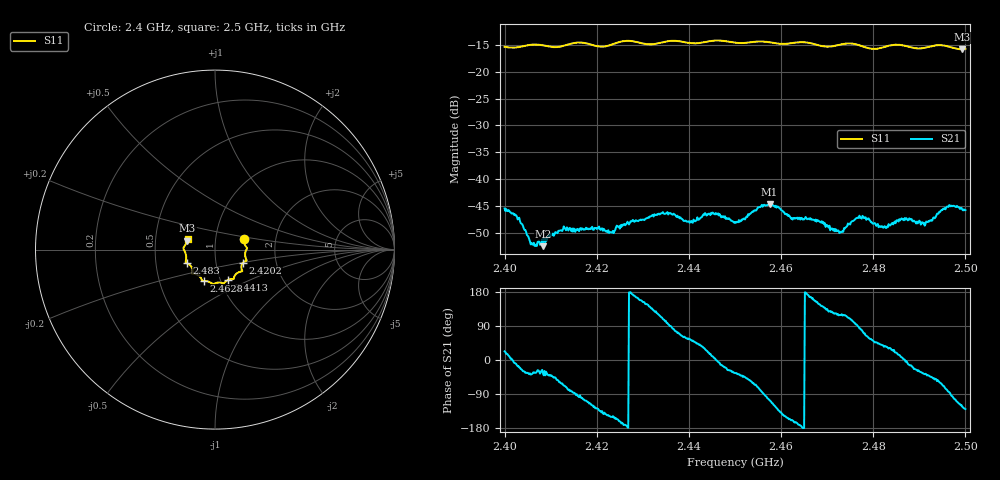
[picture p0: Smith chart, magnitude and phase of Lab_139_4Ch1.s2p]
# Hz S RI R 50
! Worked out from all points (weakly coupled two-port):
!   601 points, 2.4 GHz to 2.5 GHz, reference 50 ohm
!   highest |S21| = -44.67 dB at 2.4575 GHz (marker M1); lowest = -52.5 dB at 2.4083 GHz (marker M2)
!   lowest |S11| = -15.8 dB at 2.4993 GHz (marker M3), VSWR 1.39, Z = 36.5 + j3.72 ohm
!   |S11| at or under -10 dB: start of sweep to end of sweep
!   S12 and S22 are empty: the file has one direction only
!   S11 on the Smith chart (normalised r, x): 2.4 GHz: 1.37, +0.16; 2.4202 GHz: 1.35, -0.20; 2.4413 GHz: 1.09, -0.38; 2.4628 GHz: 0.83, -0.30; 2.483 GHz: 0.72, -0.11; 2.5 GHz: 0.73, +0.09
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2.4e9  0.1606 0.0571  0.00492 0.00207  0 0  0 0
2.402667e9  0.166 0.0287  0.00436 -0.00105  0 0  0 0
2.406167e9  0.1783 0.0095  0.00206 -0.00136  0 0  0 0
2.408333e9  0.1761 0.0023  0.00195 -0.00137  0 0  0 0
2.416667e9  0.1762 -0.0614  -0.000608 -0.00333  0 0  0 0
2.420167e9  0.1562 -0.0727  -0.00219 -0.00277  0 0  0 0
2.423167e9  0.1469 -0.1007  -0.00278 -0.00159  0 0  0 0
2.433333e9  0.1081 -0.1485  -0.00244 0.00408  0 0  0 0
2.441333e9  0.0744 -0.1678  0.00278 0.00295  0 0  0 0
2.445333e9  0.0516 -0.1872  0.00475 0.000574  0 0  0 0
2.45e9  0.0292 -0.1838  0.00328 -0.00226  0 0  0 0
2.4575e9  -0.0196 -0.1868  -0.00159 -0.00562  0 0  0 0
2.462833e9  -0.0631 -0.1748  -0.0042 -0.00118  0 0  0 0
2.466667e9  -0.0742 -0.1674  -0.00403 0.00128  0 0  0 0
2.473e9  -0.1181 -0.1346  -0.00155 0.00285  0 0  0 0
2.477333e9  -0.1242 -0.1218  0.000742 0.00431  0 0  0 0
2.483e9  -0.1547 -0.0766  0.00299 0.00206  0 0  0 0
2.483333e9  -0.1569 -0.0757  0.00331 0.00192  0 0  0 0
2.491333e9  -0.1669 -0.0135  0.00308 -0.00227  0 0  0 0
2.4965e9  -0.1696 0.0196  0.000504 -0.00572  0 0  0 0
2.499333e9  -0.154 0.0496  -0.00287 -0.00435  0 0  0 0
2.5e9  -0.1526 0.0586  -0.00328 -0.00398  0 0  0 0
